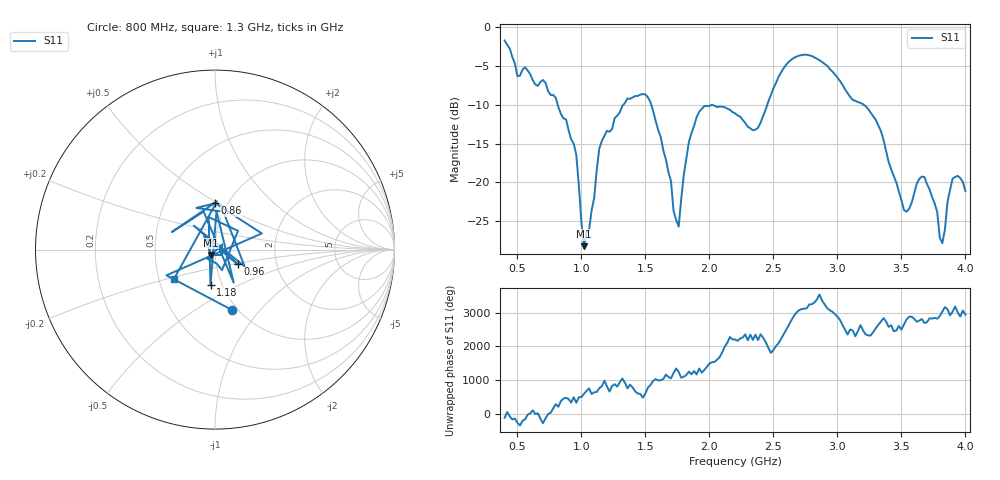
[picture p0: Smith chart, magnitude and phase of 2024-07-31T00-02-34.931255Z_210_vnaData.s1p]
!Created with skrf (http://scikit-rf.org).
# Hz S RI R 50.0
!freq ReS11 ImS11
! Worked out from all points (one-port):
!   181 points, 400 MHz to 4 GHz, reference 50 ohm
!   lowest |S11| = -28.3 dB at 1.02 GHz (marker M1), VSWR 1.08, Z = 47.6 - j2.88 ohm
!   |S11| at or under -10 dB: 815.2 MHz to 1.327 GHz (512.1 MHz wide, 47.8 % of centre); 1.546 GHz to 2.019 GHz (472.6 MHz wide, 26.5 % of centre); 3.206 GHz to end of sweep (the widest 3 of 4)
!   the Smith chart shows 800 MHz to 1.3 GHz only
!   S11 on the Smith chart (normalised r, x): 800 MHz: 0.94, -0.72; 860 MHz: 0.88, +0.49; 960 MHz: 1.27, -0.21; 1.18 GHz: 0.88, -0.36; 1.3 GHz: 0.60, -0.21
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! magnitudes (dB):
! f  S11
! 400 MHz  -1.7
! 500 MHz  -6.3
! 560 MHz  -5.1
! 800 MHz  -9.1
! 860 MHz  -11.8
! 960 MHz  -16.5
! 1.02 GHz  -28.3
! 1.1 GHz  -22.0
! 1.14 GHz  -15.6
! 1.18 GHz  -14.0
! 1.3 GHz  -11.0
! 1.54 GHz  -9.7
! 1.76 GHz  -25.7
! 1.84 GHz  -14.8
! 1.92 GHz  -10.9
! 2.2 GHz  -11.1
! 2.38 GHz  -13.0
! 2.66 GHz  -3.9
! 2.88 GHz  -4.5
! 3.1 GHz  -9.0
! 3.3 GHz  -12.0
! 3.52 GHz  -23.6
! 3.56 GHz  -23.4
! 3.68 GHz  -19.3
! 3.78 GHz  -23.9
! 3.82 GHz  -27.9
! 3.9 GHz  -19.5
! 4 GHz  -21.1
